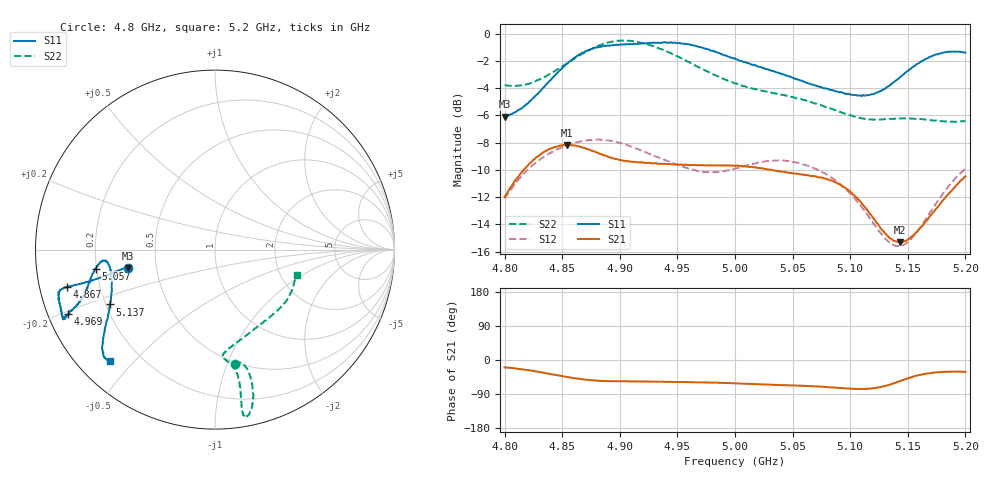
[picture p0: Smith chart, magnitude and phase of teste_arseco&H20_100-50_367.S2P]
! Network Analyzer HP8722D
! Hewlett-Packard
! Data name: Linha & Wilkinson
! Saver's name: Rodrigo Anjos
! Comments: Teste da utilização de aquisição
! continua pelo VNA HP8722D
! Time and date: 6/5/2025 15:37
!  Frequency  S11  S21  S12  S22
# HZ  S  MA R 50
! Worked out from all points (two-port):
!   401 points, 4.8 GHz to 5.2 GHz, reference 50 ohm
!   highest |S21| = -8.16 dB at 4.854 GHz (marker M1); lowest = -15.3 dB at 5.143 GHz (marker M2)
!   |S21| within 3 dB of the highest: 4.806 GHz to 5.093 GHz (286.3 MHz wide, 5.78 % of centre); 5.191842 GHz to end of sweep
!   lowest |S11| = -6.1 dB at 4.8 GHz (marker M3), VSWR 2.97, Z = 17 - j4.59 ohm
!   |S11| at or under -10 dB: nowhere
!   |S22| runs from -6.5 to -0.5 dB; largest |S21 - S12| = 0.62
!   S11 on the Smith chart (normalised r, x): 4.8 GHz: 0.34, -0.09; 4.867 GHz: 0.08, -0.12; 4.969 GHz: 0.06, -0.21; 5.057 GHz: 0.20, -0.08; 5.137 GHz: 0.22, -0.23; 5.2 GHz: 0.09, -0.43
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4.8e9  0.4962 -168.2  0.2515 -19.6  0.2479 -140.7  0.6477 -80.3
4.826e9  0.587 -167.2  0.3468 -29.5  0.3325 -144.3  0.6674 -75.6
4.854e9  0.7762 -165.8  0.3908 -44.8  0.3892 -149.7  0.778 -74.6
4.867e9  0.8488 -165.8  0.3837 -50.7  0.4032 -151.8  0.8442 -75.3
4.879e9  0.8912 -165.4  0.3677 -54.1  0.4082 -153.9  0.8956 -76.6
4.899e9  0.9097 -162.8  0.3448 -56.4  0.3983 -156.6  0.9436 -79.0
4.915e9  0.9184 -159.4  0.3373 -56.7  0.3784 -157.1  0.9349 -80.3
4.934e9  0.9267 -156.2  0.3328 -57.4  0.3516 -155.6  0.8837 -80.4
4.969e9  0.8944 -156.3  0.3286 -58.9  0.313 -147.3  0.7525 -79.7
5e9  0.8123 -159.0  0.3274 -61.6  0.3198 -137.1  0.6568 -81.2
5.032e9  0.7312 -164.6  0.3158 -65.5  0.3424 -134.1  0.6069 -85.4
5.057e9  0.6725 -170.9  0.3042 -67.8  0.3336 -135.8  0.5758 -84.8
5.067e9  0.6511 -173.0  0.3007 -69.0  0.323 -136.6  0.5591 -82.5
5.087e9  0.6153 -174.2  0.2846 -73.0  0.2897 -138.4  0.5247 -74.9
5.103e9  0.5957 -171.5  0.2557 -75.9  0.2507 -138.6  0.4974 -65.3
5.119e9  0.6006 -163.5  0.2132 -74.8  0.2043 -133.9  0.4842 -53.7
5.134e9  0.6449 -154.1  0.1778 -65.3  0.1711 -120.7  0.4873 -43.3
5.137e9  0.6601 -152.4  0.1746 -62.4  0.1678 -116.9  0.4875 -41.5
5.143e9  0.6902 -149.1  0.1713 -55.9  0.1658 -108.9  0.4886 -38.1
5.154e9  0.754 -144.4  0.1805 -44.5  0.1788 -95.0  0.4879 -32.3
5.174e9  0.8389 -138.5  0.226 -32.7  0.236 -80.4  0.4798 -23.9
5.2e9  0.8524 -133.5  0.2994 -31.3  0.3189 -76.8  0.4778 -17.6
